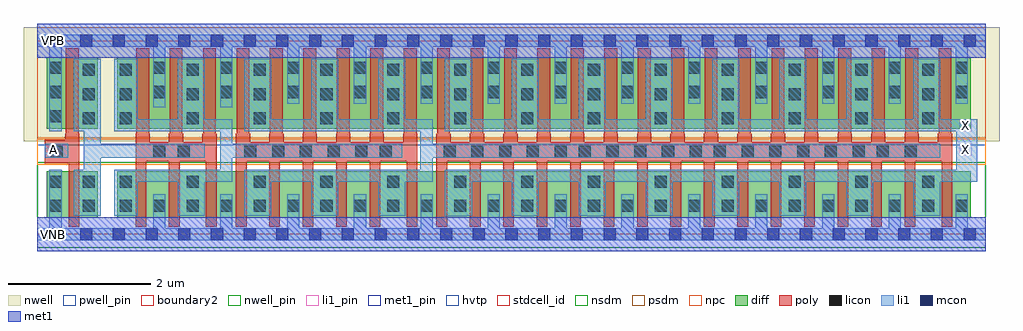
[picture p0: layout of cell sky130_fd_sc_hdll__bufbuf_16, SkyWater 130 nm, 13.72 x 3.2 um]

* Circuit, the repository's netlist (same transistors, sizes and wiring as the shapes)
* Copyright 2020 The SkyWater PDK Authors
*
* Licensed under the Apache License, Version 2.0 (the "License");
* you may not use this file except in compliance with the License.
* You may obtain a copy of the License at
*
*     https://www.apache.org/licenses/LICENSE-2.0
*
* Unless required by applicable law or agreed to in writing, software
* distributed under the License is distributed on an "AS IS" BASIS,
* WITHOUT WARRANTIES OR CONDITIONS OF ANY KIND, either express or implied.
* See the License for the specific language governing permissions and
* limitations under the License.
*
* SPDX-License-Identifier: Apache-2.0

.SUBCKT sky130_fd_sc_hdll__bufbuf_16 A VGND VNB VPB VPWR X
*.PININFO A:I VGND:I VNB:I VPB:I VPWR:I X:O
MMIN1 Ab A VGND VNB sky130_fd_pr__nfet_01v8 m=1 w=0.65U l=0.15U mult=1 sa=0.265
+ sb=0.265 sd=0.28 area=0.063 perim=1.14
MMIN2 Abb Ab VGND VNB sky130_fd_pr__nfet_01v8 m=3 w=0.65U l=0.15U mult=1 sa=0.265
+ sb=0.265 sd=0.28 area=0.063 perim=1.14
MMIN3 Abbb Abb VGND VNB sky130_fd_pr__nfet_01v8 m=6 w=0.65U l=0.15U mult=1 sa=0.265
+ sb=0.265 sd=0.28 area=0.063 perim=1.14
MMIN4 X Abbb VGND VNB sky130_fd_pr__nfet_01v8 m=16 w=0.65U l=0.15U mult=1 sa=0.265
+ sb=0.265 sd=0.28 area=0.063 perim=1.14
MMIP4 X Abbb VPWR VPB sky130_fd_pr__pfet_01v8_hvt m=16 w=1.0U l=0.18U mult=1 sa=0.265
+ sb=0.265 sd=0.28 area=0.063 perim=1.14
MMIP1 Ab A VPWR VPB sky130_fd_pr__pfet_01v8_hvt m=1 w=1.0U l=0.18U mult=1 sa=0.265
+ sb=0.265 sd=0.28 area=0.063 perim=1.14
MMIP2 Abb Ab VPWR VPB sky130_fd_pr__pfet_01v8_hvt m=3 w=1.0U l=0.18U mult=1 sa=0.265
+ sb=0.265 sd=0.28 area=0.063 perim=1.14
MI5 Abbb Abb VPWR VPB sky130_fd_pr__pfet_01v8_hvt m=6 w=1.0U l=0.18U mult=1 sa=0.265
+ sb=0.265 sd=0.28 area=0.063 perim=1.14
.ENDS sky130_fd_sc_hdll__bufbuf_16

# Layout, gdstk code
import gdstk
lib = gdstk.Library(unit=1e-6, precision=1e-09)
def R(c, l, rs):  # rectangles x0, y0, x1, y1
    for r in rs: c.add(gdstk.rectangle(r[:2], r[2:], *l))
def A(c, l, x, y, w, h, nx, ny, dx, dy):  # array of equal rectangles
    R(c, l, [(x+i*dx, y+j*dy, x+i*dx+w, y+j*dy+h) for i in range(nx) for j in range(ny)])
def P(c, l, *ps):  # polygons
    for p in ps: c.add(gdstk.Polygon(p, *l))
nwell_pin = (64, 16)
nwell = (64, 20)
diff = (65, 20)
poly = (66, 20)
licon = (66, 44)
li1_pin = (67, 16)
li1 = (67, 20)
mcon = (67, 44)
met1_pin = (68, 16)
met1 = (68, 20)
hvtp = (78, 44)
stdcell_id = (81, 4)
nsdm = (93, 44)
psdm = (94, 20)
npc = (95, 20)
pwell_pin = (122, 16)
boundary2 = (236, 0)

sky130_fd_sc_hdll__bufbu = lib.new_cell('sky130_fd_sc_hdll__bufbuf_16')
R(sky130_fd_sc_hdll__bufbu, nwell_pin, [(0.15,2.635,0.32,2.805)])
R(sky130_fd_sc_hdll__bufbu, nwell, [(-0.19,1.305,13.53,2.91)])
R(sky130_fd_sc_hdll__bufbu, diff, [(0.135,0.235,0.855,0.885), (1.125,0.235,13.125,0.885), (0.135,1.485,0.855,2.485), (1.125,1.485,13.125,2.485)])
P(sky130_fd_sc_hdll__bufbu, poly, [(0.595,1.41),(0.585,1.41),(0.585,2.615),(0.405,2.615),(0.405,1.41),(0.395,1.41),(0.395,1.325),(0.11,1.325),(0.11,0.995),(0.445,0.995),(0.445,0.105),(0.595,0.105)],
  [(2.525,1.41),(2.515,1.41),(2.515,2.615),(2.335,2.615),(2.335,1.41),(2.325,1.41),(2.325,1.295),(2.055,1.295),(2.055,1.41),(2.045,1.41),(2.045,2.615),(1.865,2.615),(1.865,1.41),(1.855,1.41),(1.855,1.295),(1.585,1.295),(1.585,1.41),(1.575,1.41),(1.575,2.615),(1.395,2.615),(1.395,1.41),(1.385,1.41),(1.385,0.105),(1.535,0.105),(1.535,1.025),(1.855,1.025),(1.855,0.105),(2.005,0.105),(2.005,1.025),(2.375,1.025),(2.375,0.105),(2.525,0.105)],
  [(5.345,1.41),(5.335,1.41),(5.335,2.615),(5.155,2.615),(5.155,1.41),(5.145,1.41),(5.145,1.295),(4.875,1.295),(4.875,1.41),(4.865,1.41),(4.865,2.615),(4.685,2.615),(4.685,1.41),(4.675,1.41),(4.675,1.295),(4.405,1.295),(4.405,1.41),(4.395,1.41),(4.395,2.615),(4.215,2.615),(4.215,1.41),(4.205,1.41),(4.205,1.295),(3.935,1.295),(3.935,1.41),(3.925,1.41),(3.925,2.615),(3.745,2.615),(3.745,1.41),(3.735,1.41),(3.735,1.295),(3.465,1.295),(3.465,1.41),(3.455,1.41),(3.455,2.615),(3.275,2.615),(3.275,1.41),(3.265,1.41),(3.265,1.295),(2.995,1.295),(2.995,1.41),(2.985,1.41),(2.985,2.615),(2.805,2.615),(2.805,1.41),(2.795,1.41),(2.795,0.105),(2.945,0.105),(2.945,1.025),(3.265,1.025),(3.265,0.105),(3.415,0.105),(3.415,1.025),(3.735,1.025),(3.735,0.105),(3.885,0.105),(3.885,1.025),(4.205,1.025),(4.205,0.105),(4.355,0.105),(4.355,1.025),(4.675,1.025),(4.675,0.105),(4.825,0.105),(4.825,1.025),(5.195,1.025),(5.195,0.105),(5.345,0.105)],
  [(12.865,1.41),(12.855,1.41),(12.855,2.615),(12.675,2.615),(12.675,1.41),(12.665,1.41),(12.665,1.295),(12.395,1.295),(12.395,1.41),(12.385,1.41),(12.385,2.615),(12.205,2.615),(12.205,1.41),(12.195,1.41),(12.195,1.295),(11.925,1.295),(11.925,1.41),(11.915,1.41),(11.915,2.615),(11.735,2.615),(11.735,1.41),(11.725,1.41),(11.725,1.295),(11.455,1.295),(11.455,1.41),(11.445,1.41),(11.445,2.615),(11.265,2.615),(11.265,1.41),(11.255,1.41),(11.255,1.295),(10.985,1.295),(10.985,1.41),(10.975,1.41),(10.975,2.615),(10.795,2.615),(10.795,1.41),(10.785,1.41),(10.785,1.295),(10.515,1.295),(10.515,1.41),(10.505,1.41),(10.505,2.615),(10.325,2.615),(10.325,1.41),(10.315,1.41),(10.315,1.295),(10.045,1.295),(10.045,1.41),(10.035,1.41),(10.035,2.615),(9.855,2.615),(9.855,1.41),(9.845,1.41),(9.845,1.295),(9.575,1.295),(9.575,1.41),(9.565,1.41),(9.565,2.615),(9.385,2.615),(9.385,1.41),(9.375,1.41),(9.375,1.295),(9.105,1.295),(9.105,1.41),(9.095,1.41),(9.095,2.615),(8.915,2.615),(8.915,1.41),(8.905,1.41),(8.905,1.295),(8.635,1.295),(8.635,1.41),(8.625,1.41),(8.625,2.615),(8.445,2.615),(8.445,1.41),(8.435,1.41),(8.435,1.295),(8.165,1.295),(8.165,1.41),(8.155,1.41),(8.155,2.615),(7.975,2.615),(7.975,1.41),(7.965,1.41),(7.965,1.295),(7.695,1.295),(7.695,1.41),(7.685,1.41),(7.685,2.615),(7.505,2.615),(7.505,1.41),(7.495,1.41),(7.495,1.295),(7.225,1.295),(7.225,1.41),(7.215,1.41),(7.215,2.615),(7.035,2.615),(7.035,1.41),(7.025,1.41),(7.025,1.295),(6.755,1.295),(6.755,1.41),(6.745,1.41),(6.745,2.615),(6.565,2.615),(6.565,1.41),(6.555,1.41),(6.555,1.295),(6.285,1.295),(6.285,1.41),(6.275,1.41),(6.275,2.615),(6.095,2.615),(6.095,1.41),(6.085,1.41),(6.085,1.295),(5.815,1.295),(5.815,1.41),(5.805,1.41),(5.805,2.615),(5.625,2.615),(5.625,1.41),(5.615,1.41),(5.615,0.105),(5.765,0.105),(5.765,1.025),(6.085,1.025),(6.085,0.105),(6.235,0.105),(6.235,1.025),(6.555,1.025),(6.555,0.105),(6.705,0.105),(6.705,1.025),(7.025,1.025),(7.025,0.105),(7.175,0.105),(7.175,1.025),(7.495,1.025),(7.495,0.105),(7.645,0.105),(7.645,1.025),(7.965,1.025),(7.965,0.105),(8.115,0.105),(8.115,1.025),(8.435,1.025),(8.435,0.105),(8.585,0.105),(8.585,1.025),(8.905,1.025),(8.905,0.105),(9.055,0.105),(9.055,1.025),(9.375,1.025),(9.375,0.105),(9.525,0.105),(9.525,1.025),(9.845,1.025),(9.845,0.105),(9.995,0.105),(9.995,1.025),(10.315,1.025),(10.315,0.105),(10.465,0.105),(10.465,1.025),(10.785,1.025),(10.785,0.105),(10.935,0.105),(10.935,1.025),(11.255,1.025),(11.255,0.105),(11.405,0.105),(11.405,1.025),(11.725,1.025),(11.725,0.105),(11.875,0.105),(11.875,1.025),(12.195,1.025),(12.195,0.105),(12.345,0.105),(12.345,1.025),(12.715,1.025),(12.715,0.105),(12.865,0.105)])
A(sky130_fd_sc_hdll__bufbu, licon, 1.165, 0.315, 0.17, 0.17, 26, 1, 0.47, 0)
A(sky130_fd_sc_hdll__bufbu, licon, 1.165, 0.655, 0.17, 0.17, 13, 2, 0.94, 0.89)
A(sky130_fd_sc_hdll__bufbu, licon, 2.915, 1.075, 0.17, 0.17, 5, 1, 0.39, 0)
A(sky130_fd_sc_hdll__bufbu, licon, 5.715, 1.075, 0.17, 0.17, 5, 1, 0.39, 0)
A(sky130_fd_sc_hdll__bufbu, licon, 7.615, 1.075, 0.17, 0.17, 5, 1, 0.39, 0)
A(sky130_fd_sc_hdll__bufbu, licon, 9.515, 1.075, 0.17, 0.17, 6, 1, 0.39, 0)
A(sky130_fd_sc_hdll__bufbu, licon, 0.645, 1.545, 0.17, 0.17, 1, 3, 0, 0.34)
A(sky130_fd_sc_hdll__bufbu, licon, 0.175, 1.575, 0.17, 0.17, 1, 3, 0, 0.34)
A(sky130_fd_sc_hdll__bufbu, licon, 1.165, 1.885, 0.17, 0.17, 13, 2, 0.94, 0.34)
A(sky130_fd_sc_hdll__bufbu, licon, 1.635, 1.915, 0.17, 0.17, 13, 2, 0.94, 0.34)
R(sky130_fd_sc_hdll__bufbu, licon, [(0.175,0.315,0.345,0.485), (0.645,0.315,0.815,0.485), (0.175,0.655,0.345,0.825), (0.645,0.655,0.815,0.825), (0.19,1.075,0.36,1.245), (1.635,1.075,1.805,1.245), (1.975,1.075,2.145,1.245), (4.815,1.075,4.985,1.245), (11.805,1.075,11.975,1.245), (12.195,1.075,12.365,1.245)])
R(sky130_fd_sc_hdll__bufbu, li1_pin, [(0.15,1.105,0.32,1.275), (12.97,1.105,13.14,1.275), (12.97,1.445,13.14,1.615)])
R(sky130_fd_sc_hdll__bufbu, li1, [(0.11,1.075,0.44,1.275)])
P(sky130_fd_sc_hdll__bufbu, li1, [(2.355,1.275),(0.895,1.275),(0.895,2.465),(0.515,2.465),(0.515,1.445),(0.66,1.445),(0.66,0.905),(0.515,0.905),(0.515,0.26),(0.895,0.26),(0.895,1.075),(2.355,1.075)],
  [(13.34,0.085),(13.085,0.085),(13.085,0.565),(12.915,0.565),(12.915,0.085),(12.145,0.085),(12.145,0.565),(11.975,0.565),(11.975,0.085),(11.205,0.085),(11.205,0.565),(11.035,0.565),(11.035,0.085),(10.265,0.085),(10.265,0.565),(10.095,0.565),(10.095,0.085),(9.325,0.085),(9.325,0.565),(9.155,0.565),(9.155,0.085),(8.385,0.085),(8.385,0.565),(8.215,0.565),(8.215,0.085),(7.445,0.085),(7.445,0.565),(7.275,0.565),(7.275,0.085),(6.505,0.085),(6.505,0.565),(6.335,0.565),(6.335,0.085),(5.565,0.085),(5.565,0.565),(5.395,0.565),(5.395,0.085),(4.625,0.085),(4.625,0.565),(4.455,0.565),(4.455,0.085),(3.685,0.085),(3.685,0.565),(3.515,0.565),(3.515,0.085),(2.745,0.085),(2.745,0.565),(2.575,0.565),(2.575,0.085),(1.805,0.085),(1.805,0.565),(1.635,0.565),(1.635,0.085),(0.345,0.085),(0.345,0.905),(0.175,0.905),(0.175,0.085),(0,0.085),(0,-0.085),(13.34,-0.085)],
  [(13.34,2.805),(0,2.805),(0,2.635),(0.175,2.635),(0.175,1.445),(0.345,1.445),(0.345,2.635),(1.635,2.635),(1.635,1.785),(1.805,1.785),(1.805,2.635),(2.575,2.635),(2.575,1.785),(2.745,1.785),(2.745,2.635),(3.515,2.635),(3.515,1.835),(3.685,1.835),(3.685,2.635),(4.455,2.635),(4.455,1.835),(4.625,1.835),(4.625,2.635),(5.395,2.635),(5.395,1.835),(5.565,1.835),(5.565,2.635),(6.335,2.635),(6.335,1.835),(6.505,1.835),(6.505,2.635),(7.275,2.635),(7.275,1.835),(7.445,1.835),(7.445,2.635),(8.215,2.635),(8.215,1.835),(8.385,1.835),(8.385,2.635),(9.155,2.635),(9.155,1.835),(9.325,1.835),(9.325,2.635),(10.095,2.635),(10.095,1.835),(10.265,1.835),(10.265,2.635),(11.035,2.635),(11.035,1.835),(11.205,1.835),(11.205,2.635),(11.975,2.635),(11.975,1.835),(12.145,1.835),(12.145,2.635),(12.915,2.635),(12.915,1.835),(13.085,1.835),(13.085,2.635),(13.34,2.635)],
  [(5.135,1.275),(2.745,1.275),(2.745,1.615),(2.355,1.615),(2.355,2.465),(1.975,2.465),(1.975,1.615),(1.415,1.615),(1.415,2.465),(1.085,2.465),(1.085,1.445),(2.575,1.445),(2.575,0.905),(1.085,0.905),(1.085,0.26),(1.415,0.26),(1.415,0.735),(1.975,0.735),(1.975,0.26),(2.355,0.26),(2.355,0.735),(2.745,0.735),(2.745,1.075),(5.135,1.075)],
  [(12.7,1.275),(5.565,1.275),(5.565,1.615),(5.175,1.615),(5.175,2.465),(4.795,2.465),(4.795,1.615),(4.235,1.615),(4.235,2.465),(3.855,2.465),(3.855,1.615),(3.295,1.615),(3.295,2.465),(2.915,2.465),(2.915,1.445),(5.39,1.445),(5.39,0.905),(2.915,0.905),(2.915,0.26),(3.295,0.26),(3.295,0.735),(3.855,0.735),(3.855,0.26),(4.235,0.26),(4.235,0.735),(4.795,0.735),(4.795,0.26),(5.175,0.26),(5.175,0.735),(5.565,0.735),(5.565,1.075),(12.7,1.075)],
  [(13.22,1.615),(12.695,1.615),(12.695,2.465),(12.315,2.465),(12.315,1.615),(11.755,1.615),(11.755,2.465),(11.375,2.465),(11.375,1.615),(10.815,1.615),(10.815,2.465),(10.435,2.465),(10.435,1.615),(9.875,1.615),(9.875,2.465),(9.495,2.465),(9.495,1.615),(8.935,1.615),(8.935,2.465),(8.555,2.465),(8.555,1.615),(7.995,1.615),(7.995,2.465),(7.615,2.465),(7.615,1.615),(7.055,1.615),(7.055,2.465),(6.675,2.465),(6.675,1.615),(6.115,1.615),(6.115,2.465),(5.735,2.465),(5.735,1.445),(12.92,1.445),(12.92,0.905),(5.735,0.905),(5.735,0.255),(6.035,0.255),(6.035,0.26),(6.115,0.26),(6.115,0.735),(6.675,0.735),(6.675,0.26),(6.805,0.26),(6.805,0.255),(6.975,0.255),(6.975,0.26),(7.055,0.26),(7.055,0.735),(7.615,0.735),(7.615,0.26),(7.745,0.26),(7.745,0.255),(7.915,0.255),(7.915,0.26),(7.995,0.26),(7.995,0.735),(8.555,0.735),(8.555,0.26),(8.935,0.26),(8.935,0.735),(9.495,0.735),(9.495,0.26),(9.875,0.26),(9.875,0.735),(10.435,0.735),(10.435,0.26),(10.815,0.26),(10.815,0.735),(11.375,0.735),(11.375,0.26),(11.755,0.26),(11.755,0.735),(12.315,0.735),(12.315,0.26),(12.695,0.26),(12.695,0.735),(13.22,0.735)])
A(sky130_fd_sc_hdll__bufbu, mcon, 0.145, -0.085, 0.17, 0.17, 29, 2, 0.46, 2.72)
R(sky130_fd_sc_hdll__bufbu, met1_pin, [(0.15,-0.085,0.32,0.085), (0.15,2.635,0.32,2.805)])
R(sky130_fd_sc_hdll__bufbu, met1, [(0,-0.24,13.34,0.24), (0,2.48,13.34,2.96)])
R(sky130_fd_sc_hdll__bufbu, hvtp, [(0,1.25,13.34,2.72)])
R(sky130_fd_sc_hdll__bufbu, stdcell_id, [(0,0,13.34,2.72)])
R(sky130_fd_sc_hdll__bufbu, nsdm, [(0,-0.19,13.34,1.015)])
R(sky130_fd_sc_hdll__bufbu, psdm, [(0,1.355,13.34,2.91)])
R(sky130_fd_sc_hdll__bufbu, npc, [(0,0.975,13.34,1.345)])
R(sky130_fd_sc_hdll__bufbu, pwell_pin, [(0.15,-0.085,0.32,0.085)])
R(sky130_fd_sc_hdll__bufbu, boundary2, [(0,0,13.34,2.72)])
sky130_fd_sc_hdll__bufbu.add(gdstk.Label('A', (0.235,1.19), layer=67, texttype=5))
sky130_fd_sc_hdll__bufbu.add(gdstk.Label('X', (13.05,1.19), layer=67, texttype=5))
sky130_fd_sc_hdll__bufbu.add(gdstk.Label('X', (13.05,1.53), layer=67, texttype=5))
sky130_fd_sc_hdll__bufbu.add(gdstk.Label('VNB', (0.235,0), layer=64, texttype=59))
sky130_fd_sc_hdll__bufbu.add(gdstk.Label('VPB', (0.235,2.72), layer=64, texttype=5))
sky130_fd_sc_hdll__bufbu.add(gdstk.Label('VGND', (0.23,0), layer=68, texttype=5))
sky130_fd_sc_hdll__bufbu.add(gdstk.Label('VPWR', (0.23,2.72), layer=68, texttype=5))
sky130_fd_sc_hdll__bufbu.add(gdstk.Label('bufbuf_16', (0,0), layer=83, texttype=44))

lib.write_gds('sky130_fd_sc_hdll__bufbuf_16.gds')
